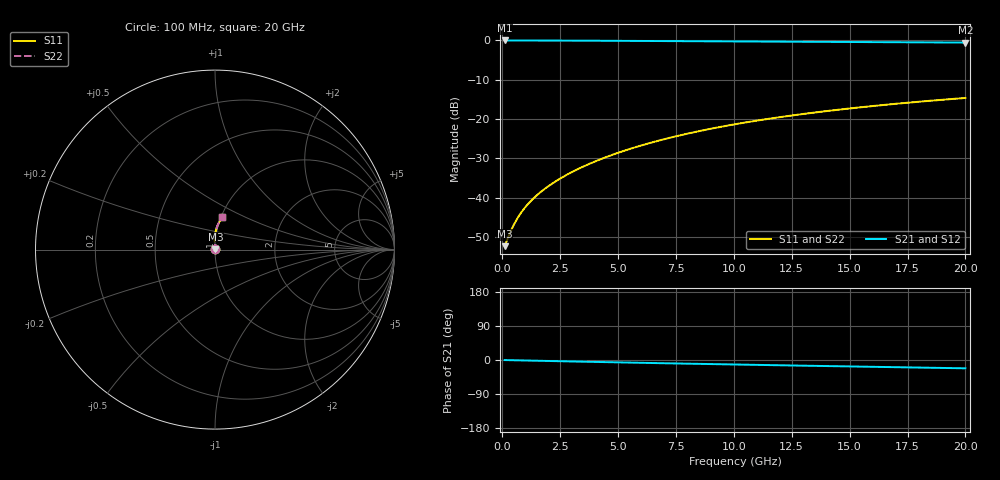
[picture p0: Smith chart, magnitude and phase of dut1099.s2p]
! Touchstone file exported from HFSS 2024.1.0
!  File:  C:/UserFiles/LocalFiles/RDL_TSV_Batchsim/temp_RDL_top_1099_1780046259.aedt
!  Generated:  05:19:40 PM May 29, 2026
!  Design:  RDL_top
!  Project:  temp_RDL_top_1099_1780046259
!  Setup:  Setup1
!  Solution:  Sweep
! Variables:
!  dtsv = 10.80580581um
!  hbump = 3um
!  htsv = 98.9um
!  ldown = 100um
!  lrdl = 313.76um
!  p = 40
!  p1 = 45.09um
!  rhole = 1um
!  t = 450um
!  tdown = 3.915915916um
!  trdl = 2.18um
!  wdown = 15.38538539um
!  wrdl = 27.84um
# GHz S MA R 50.000000
! Terminal data exported
! Port[1] = Box2_T1
! Port[2] = Box2_T2
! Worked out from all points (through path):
!   200 points, 100 MHz to 20 GHz, reference 50 ohm
!   highest |S21| = -0.02 dB at 100 MHz (marker M1); lowest = -0.6 dB at 20 GHz (marker M2)
!   group delay of S21, straight-line fit = 3.01 ps
!   lowest |S11| = -52.4 dB at 100 MHz (marker M3), VSWR 1.00, Z = 50.2 + j0.0837 ohm
!   |S11| at or under -10 dB: start of sweep to end of sweep
!   |S22| runs from -52.4 to -14.7 dB; largest |S21 - S12| = 3.5e-15
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0.1  0.002402 20.3  0.9977 -0.1  0.9977 -0.1  0.002402 20.3
! Gamma 0 0 0 0
! Port Impedance 50 0 50 0
0.3  0.003364 44.0  0.9975 -0.4  0.9975 -0.4  0.003365 44.0
0.4  0.003927 50.7  0.9974 -0.5  0.9974 -0.5  0.003927 50.7
0.6  0.00511 59.7  0.9971 -0.8  0.9971 -0.8  0.00511 59.7
0.7  0.005718 62.9  0.9969 -0.9  0.9969 -0.9  0.005718 62.9
0.9  0.00695 67.7  0.9967 -1.2  0.9967 -1.2  0.006949 67.7
1.1  0.008195 71.2  0.9964 -1.5  0.9964 -1.5  0.008194 71.2
1.3  0.009453 74.1  0.9961 -1.7  0.9961 -1.7  0.009452 74.1
1.7  0.01202 78.3  0.9955 -2.2  0.9955 -2.2  0.01202 78.3
2.2  0.01535 82.2  0.9946 -2.9  0.9946 -2.9  0.01535 82.2
2.8  0.01956 85.5  0.9934 -3.6  0.9934 -3.6  0.01956 85.5
3.5  0.02478 88.1  0.9916 -4.5  0.9916 -4.5  0.02478 88.1
4.2  0.03033 89.9  0.9896 -5.3  0.9896 -5.3  0.03033 89.9
5  0.03706 91.1  0.9871 -6.3  0.9871 -6.3  0.03705 91.1
5.9  0.04505 91.8  0.9841 -7.3  0.9841 -7.3  0.04504 91.8
6.8  0.05342 91.9  0.981 -8.4  0.981 -8.4  0.05342 91.9
8.4  0.06899 91.2  0.9753 -10.2  0.9753 -10.2  0.06898 91.2
10.1  0.08611 89.7  0.9694 -12.0  0.9694 -12.0  0.0861 89.7
11.7  0.1024 87.9  0.964 -13.6  0.964 -13.6  0.1024 87.9
13.4  0.1198 85.8  0.9584 -15.4  0.9584 -15.4  0.1198 85.8
16.7  0.153 81.6  0.948 -18.7  0.948 -18.7  0.153 81.6
20  0.185 77.4  0.9379 -22.0  0.9379 -22.0  0.185 77.4
